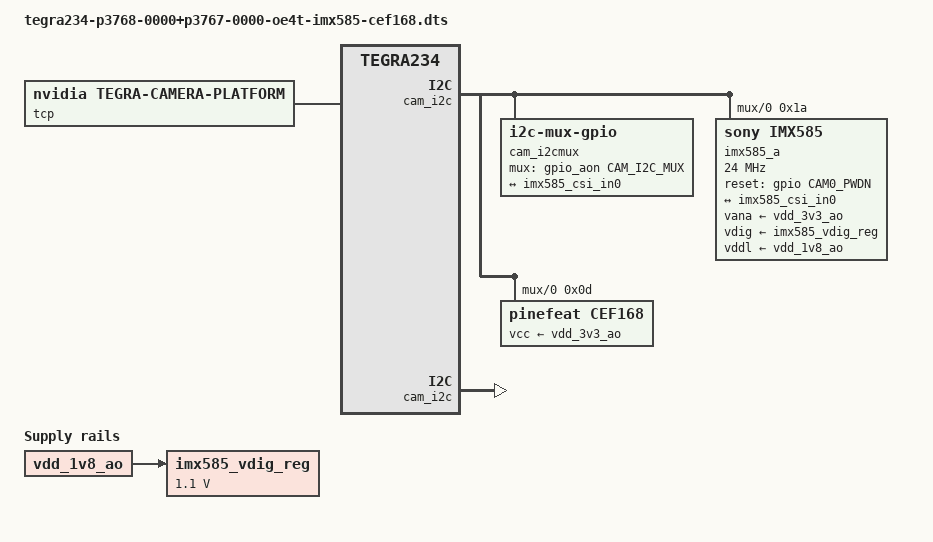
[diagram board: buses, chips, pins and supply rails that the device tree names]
// SPDX-License-Identifier: GPL-2.0-only
// Device tree describing an IMX585 image sensor and CEF168 lens controller
// integrated directly into the Jetson Orin Nano dev kit base DT.

/dts-v1/;

#include <dt-bindings/tegra234-p3767-0000-common.h>
#include <dt-bindings/clock/tegra234-clock.h>
#include "tegra234-p3768-0000+p3767-0000-oe4t.dts"

#define CAM0_PWDN       TEGRA234_MAIN_GPIO(H, 6)
#define CAM_I2C_MUX     TEGRA234_AON_GPIO(CC, 3)

/ {
    imx585_vdig_reg: regulator-imx585-vdig {
        compatible = "regulator-fixed";
        regulator-name = "IMX585_VDIG";
        regulator-min-microvolt = <1100000>;
        regulator-max-microvolt = <1100000>;
        regulator-always-on;
        vin-supply = <&vdd_1v8_ao>;
    };

    tcp: tegra-camera-platform {
        compatible = "nvidia, tegra-camera-platform";
        num_csi_lanes = <4>;
        max_lane_speed = <1800000>;
        min_bits_per_pixel = <12>;
        vi_peak_byte_per_pixel = <2>;
        vi_bw_margin_pct = <25>;
        max_pixel_rate = <9600000>;
        isp_peak_byte_per_pixel = <5>;
        isp_bw_margin_pct = <25>;

        modules {
            module0 {
                badge = "tegrademo_front_IMX585";
                position = "front";
                orientation = "0";

                drivernode0 {
                    pcl_id = "v4l2_sensor";
                    sysfs-device-tree = "/sys/firmware/devicetree/base/bus@0/cam_i2cmux/i2c@0/imx585_a@1a";
                };

                drivernode1 {
                    pcl_id = "v4l2_lens";
                    sysfs-device-tree = "/sys/firmware/devicetree/base/bus@0/cam_i2cmux/i2c@0/cef168@d";
                };
            };
        };
    };

    cam_i2cmux: cam_i2cmux {
        status = "okay";
        compatible = "i2c-mux-gpio";
        #address-cells = <1>;
        #size-cells = <0>;
        mux-gpios = <&gpio_aon CAM_I2C_MUX GPIO_ACTIVE_HIGH>;
        i2c-parent = <&cam_i2c>;

        i2c@0 {
            status = "okay";
            reg = <0>;
            #address-cells = <1>;
            #size-cells = <0>;

            imx585_a@1a {
                status = "okay";
                compatible = "sony,imx585";
                reg = <0x1a>;
                clocks = <&bpmp TEGRA234_CLK_EXTPERIPH1>,
                         <&bpmp TEGRA234_CLK_PLLP_OUT0>;
                clock-names = "extperiph1", "pllp_grtba";
                mclk = "extperiph1";
                clock-frequency = <24000000>;
                assigned-clocks = <&bpmp TEGRA234_CLK_EXTPERIPH1>;
                assigned-clock-parents = <&bpmp TEGRA234_CLK_PLLP_OUT0>;
                assigned-clock-rates = <24000000>;
                reset-gpios = <&gpio CAM0_PWDN GPIO_ACTIVE_HIGH>;
                vana-supply = <&vdd_3v3_ao>;
                vdig-supply = <&imx585_vdig_reg>;
                vddl-supply = <&vdd_1v8_ao>;
                link-frequencies = /bits/ 64 <720000000>;
                orientation = <0>;
                devnode = "video0";
                use-sensor-mode-id;

            port {
                imx585_out0: endpoint {
                    port-index = <1>;
                    bus-width = <4>;
                    clock-lanes = <0>;
                    data-lanes = <1 2 3 4>;
                    link-frequencies = /bits/ 64 <720000000>;
                    remote-endpoint = <&imx585_csi_in0>;
                };
            };
        };

            cef168@d {
                status = "okay";
                compatible = "pinefeat,cef168";
                reg = <0x0d>;
                vcc-supply = <&vdd_3v3_ao>;
            };
        };
    };
};

&capture_vi {
    num-channels = <1>;

    ports {
        #address-cells = <1>;
        #size-cells = <0>;

        port@0 {
            reg = <0>;

            imx585_vi_in0: endpoint {
                port-index = <1>;
                bus-width = <4>;
                remote-endpoint = <&imx585_csi_out0>;
            };
        };
    };
};

&nvcsi {
    num-channels = <1>;
    #address-cells = <1>;
    #size-cells = <0>;

    channel@0 {
        reg = <0>;

        ports {
            #address-cells = <1>;
            #size-cells = <0>;

            port@0 {
                reg = <0>;

                imx585_csi_in0: endpoint@0 {
                    port-index = <1>;
                    bus-width = <4>;
                    clock-lanes = <0>;
                    data-lanes = <1 2 3 4>;
                    link-frequencies = /bits/ 64 <720000000>;
                    remote-endpoint = <&imx585_out0>;
                };
            };

            port@1 {
                reg = <1>;

                imx585_csi_out0: endpoint@1 {
                    remote-endpoint = <&imx585_vi_in0>;
                };
            };
        };
    };
};

&cam_i2c {
    status = "okay";
};
